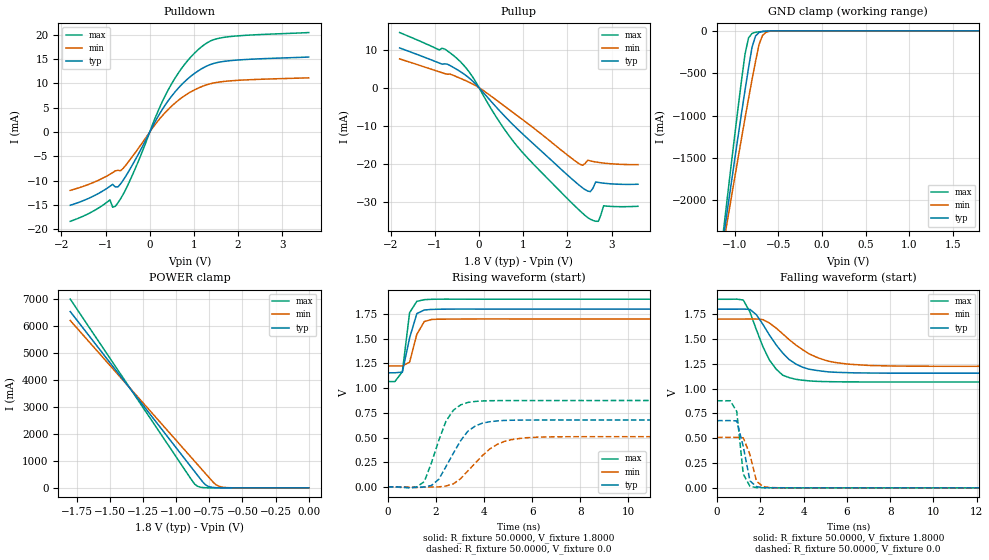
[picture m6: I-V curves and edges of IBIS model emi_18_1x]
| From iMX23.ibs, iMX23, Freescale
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|   Model emi_18_1x
[Model]  emi_18_1x
Model_type I/O
Polarity   Non-Inverting
Enable   Active-Low
Vinl =   0.3600V
Vinh =   1.4400V
Vmeas =  0.9000V
Cref =   15.0000pF
Rref =   50.0000
Vref =   0.9000V
C_comp   3.0000pF   2.0000pF   4.0000pF
[Temperature Range]   50.0000   100.0000   0.0
[Voltage Range]   1.8000V   1.7000V   1.9000V
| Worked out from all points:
|   slope of the pulldown table from 0 to 0.27 V, typ, clamps not added: 60.9 ohm
|   slope of the pullup table from 0 to 0.27 V, typ, clamps not added: 75.9 ohm
|   GND clamp passes 1 mA (typ) near -0.57 V on its own axis
|   POWER clamp passes 1 mA (typ) near -0.64 V on its own axis
|   rising waveform, R_fixture 50.0000, V_fixture 1.8000: 20-80 % time 393ps typ, 384ps min, 251ps max; typ from 1.16 V to 1.8 V
|   rising waveform, R_fixture 50.0000, V_fixture 0.0: 20-80 % time 1ns typ, 1.29ns min, 808ps max; typ from 0 V to 0.678 V
|   falling waveform, R_fixture 50.0000, V_fixture 1.8000: 20-80 % time 1.34ns typ, 1.8ns min, 1.02ns max; typ from 1.8 V to 1.16 V
|   falling waveform, R_fixture 50.0000, V_fixture 0.0: 20-80 % time 398ps typ, 393ps min, 251ps max; typ from 0.678 V to 0 V
[Pulldown]
|Voltage   I(typ)   I(min)   I(max)
-1.8V     -15.05mA   -11.99mA   -18.36mA
-900mV    -11.15mA   -8.673mA   -13.94mA
-840mV    -10.75mA   -8.341mA   -15.46mA
-720mV    -11.28mA   -7.862mA   -14.56mA
-660mV    -10.66mA   -7.958mA   -13.73mA
-420mV    -7.19mA    -5.364mA   -9.407mA
180mV     3.08mA     2.226mA    4.146mA
420mV     6.473mA    4.681mA    8.7mA
780mV     10.28mA    7.422mA    13.82mA
1.2V      13.16mA    9.44mA     17.74mA
1.74V     14.61mA    10.47mA    19.56mA
3.6V      15.44mA    11.16mA    20.47mA
[Pullup]
|Voltage   I(typ)   I(min)   I(max)
-1.8V     10.47mA    7.598mA    14.52mA
-900mV    6.495mA    4.184mA    9.939mA
-780mV    6.279mA    3.725mA    10.19mA
-420mV    4.216mA    2.454mA    6.808mA
-180mV    2.106mA    1.191mA    3.426mA
420mV     -5.491mA   -3.492mA   -8.264mA
840mV     -10.53mA   -7.129mA   -15.05mA
2.28V     -25.75mA   -20.09mA   -32.32mA
2.46V     -27.17mA   -19.05mA   -34.14mA
2.7V      -24.9mA    -19.63mA   -35.12mA
2.82V     -25.09mA   -19.81mA   -31.05mA
3.6V      -25.38mA   -20.22mA   -31.17mA
[GND_clamp]
|Voltage   I(typ)   I(min)   I(max)
-1.8V     -7.392A    -6.698A    -8.432A
-1.12V    -2.392A    -2.476A    -2.299A
-1.08V    -2.103A    -2.232A    -1.946A
-960mV    -1.249A    -1.505A    -912.2mA
-880mV    -699.4mA   -1.031A    -273.3mA
-840mV    -438.1mA   -800mA     -84.15mA
-800mV    -194.4mA   -575.8mA   -31.11mA
-760mV    -61.03mA   -361mA     -16.93mA
-720mV    -20.07mA   -162mA     -11.24mA
-680mV    -7.935mA   -53.82mA   -7.538mA
-600mV    -1.782mA   -5.494mA   -2.6mA
1.8V      249pA      4.664uA    -7.626uA
[POWER_clamp]
|Voltage   I(typ)   I(min)   I(max)
-1.8V     6.551A     6.219A     7.013A
-860mV    599.8mA    983.1mA    135.5mA
-820mV    346.6mA    760.4mA    26.88mA
-780mV    117.6mA    537.6mA    5.051mA
-740mV    29.56mA    314.8mA    980.2uA
-700mV    7.166mA    117mA      230.3uA
-660mV    1.744mA    35.26mA    89.94uA
-560mV    85.6uA     1.63mA     50.22uA
0V        249pA      983.6pA    101.6pA
[Ramp]
| variable   typ   min   max
dV/dt_r  0.4065/0.9948n   0.3051/1.2759n   0.5248/0.8050n
dV/dt_f  0.3868/1.3313n   0.2852/1.7813n   0.4999/1.0151n
R_load = 50.0000
[Rising Waveform]
R_fixture= 50.0000
V_fixture= 1.8000
V_fixture_min= 1.7000
V_fixture_max= 1.9000
|time   V(typ)   V(min)   V(max)
0s        1.155V     1.225V     1.067V
300ps     1.155V     1.225V     1.067V
610ps     1.162V     1.225V     1.166V
910ps     1.508V     1.263V     1.764V
1.21ns    1.754V     1.544V     1.878V
1.52ns    1.791V     1.674V     1.895V
1.82ns    1.797V     1.695V     1.899V
3.33ns    1.801V     1.7V       1.9V
30ns      1.8V       1.7V       1.9V
[Rising Waveform]
R_fixture= 50.0000
V_fixture= 0.0
|time   V(typ)   V(min)   V(max)
0s        0V         0V         0V
1.21ns    -3.401mV   -7.032mV   144.4uV
1.52ns    -915.6uV   -2.466mV   53.39mV
2.12ns    76.17mV    108.7uV    468.7mV
2.42ns    205.2mV    8.691mV    664.1mV
3.03ns    467.7mV    83.6mV     830.2mV
3.64ns    616.9mV    241.6mV    865.4mV
4.55ns    668.1mV    430.7mV    873.4mV
6.06ns    677.2mV    501.6mV    874.5mV
30ns      677.5mV    508.4mV    874.7mV
[Falling Waveform]
R_fixture= 50.0000
V_fixture= 1.8000
V_fixture_min= 1.7000
V_fixture_max= 1.9000
|time   V(typ)   V(min)   V(max)
0s        1.8V       1.7V       1.9V
1.21ns    1.801V     1.701V     1.893V
1.52ns    1.798V     1.702V     1.771V
1.82ns    1.744V     1.701V     1.591V
2.42ns    1.54V      1.661V     1.287V
3.03ns    1.359V     1.552V     1.136V
3.94ns    1.217V     1.394V     1.085V
5.15ns    1.168V     1.276V     1.07V
7.27ns    1.157V     1.232V     1.067V
30ns      1.155V     1.225V     1.067V
[Falling Waveform]
R_fixture= 50.0000
V_fixture= 0.0
|time   V(typ)   V(min)   V(max)
0s        677.5mV    508.4mV    877.7mV
610ps     677.5mV    508.4mV    877.6mV
910ps     674.6mV    508.4mV    769.1mV
1.21ns    416.3mV    504mV      139.4mV
1.52ns    70.66mV    334.7mV    15.36mV
1.82ns    12.15mV    67.49mV    2.435mV
2.12ns    2.696mV    13.82mV    1.373mV
2.42ns    1.383mV    3.714mV    997.5uV
2.73ns    1.057mV    1.434mV    716uV
30ns      0V         0V         0V
